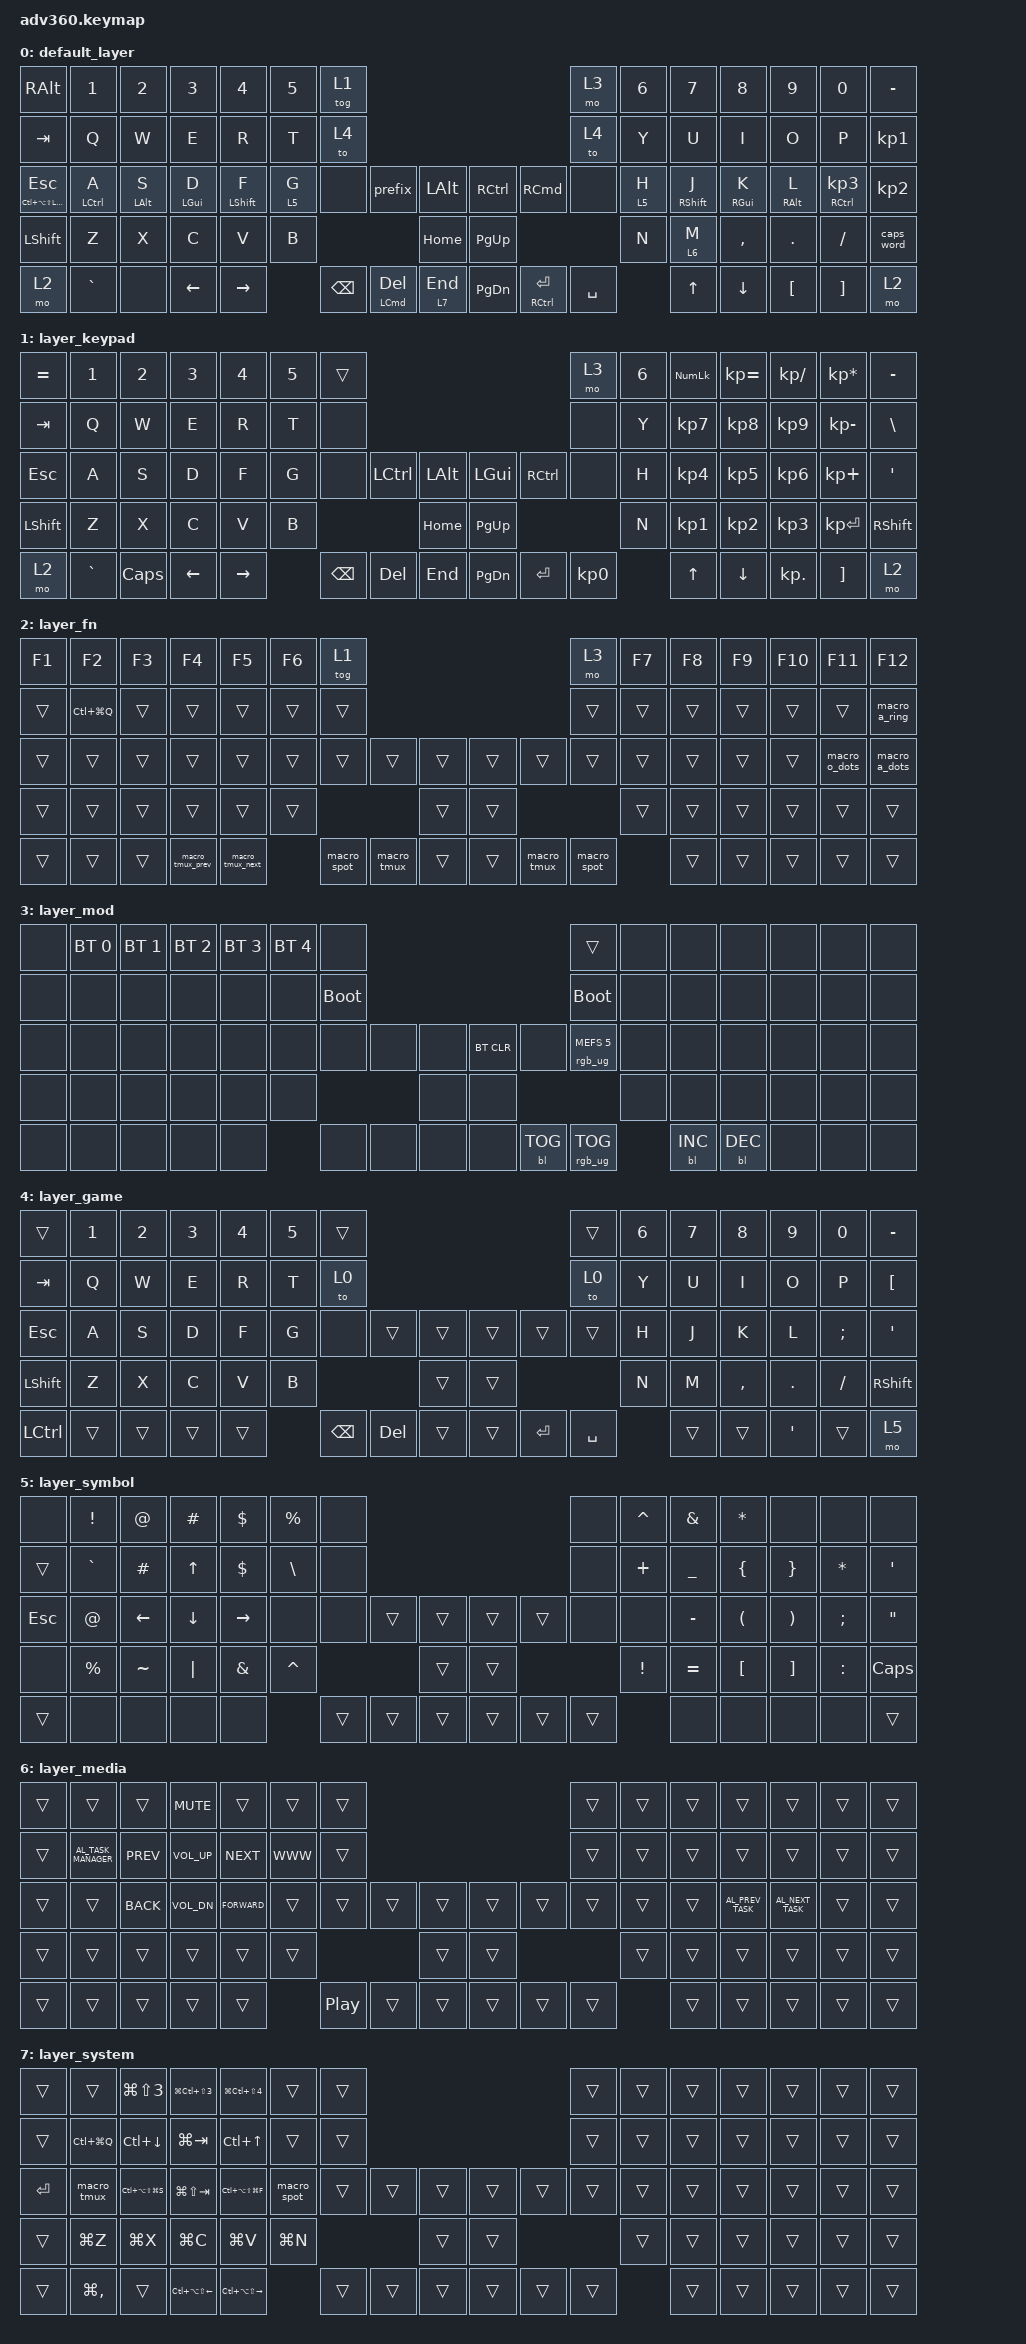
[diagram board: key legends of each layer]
/* THIS FILE WAS GENERATED!
 *
 * This file was generated automatically. You may or may not want to
 * edit it directly.
 */

#include <dt-bindings/zmk/stp.h>
#include <behaviors.dtsi>
#include <dt-bindings/zmk/backlight.h>
#include <dt-bindings/zmk/bt.h>
#include <dt-bindings/zmk/keys.h>
#include <dt-bindings/zmk/rgb.h>

#define HM_TAP_FLAVOR "tap-preferred"
#define HM_QUICKTAP_MS 120
#define HM_TAPPING_TERM_MS 150
#define KEYS_LEFT 0 1 2 3 4 5 6 \
                  14 15 16 17 18 19 20 \
                  28 29 30 31 32 33 34 \
                  46 47 48 49 50 51 \
                  60 61 62 63 64
#define KEYS_RIGHT 7 8 9 10 11 12 13 \
                   21 22 23 24 25 26 27 \
                   39 40 41 42 43 44 45 \
                   54 55 56 57 58 59 \
                   71 72 73 74 75
#define THUMBS_LEFT 35 36 65 66 52 67
#define THUMBS_RIGHT 37 38 53 69 70 68
#define THUMBS THUMBS_LEFT THUMBS_RIGHT

/ {
    behaviors {
        #include "macros.dtsi"
      #include "version.dtsi"

        hm: homerow_mods {
            compatible = "zmk,behavior-hold-tap";
            label = "HOMEROW_MODS";
            #binding-cells = <2>;
            tapping-term-ms = <HM_TAPPING_TERM_MS>;
            quick_tap_ms = <HM_QUICKTAP_MS>;
            flavor =
            HM_TAP_FLAVOR;
            bindings = <&kp>, <&kp>;
        };

        hm_l: homerow_mods_left {
            compatible = "zmk,behavior-hold-tap";
            label = "HOMEROW_MODS_LEFT";
            #binding-cells = <2>;
            tapping-term-ms = <HM_TAPPING_TERM_MS>;
            quick_tap_ms = <HM_QUICKTAP_MS>;
            flavor =
            HM_TAP_FLAVOR;
            bindings = <&kp>, <&kp>;

            hold-trigger-key-positions = <KEYS_RIGHT THUMBS>;
        };

        hm_r: homerow_mods_right {
            compatible = "zmk,behavior-hold-tap";
            label = "HOMEROW_MODS_RIGHT";
            #binding-cells = <2>;
            tapping-term-ms = <HM_TAPPING_TERM_MS>;
            quick_tap_ms = <HM_QUICKTAP_MS>;
            flavor =
            HM_TAP_FLAVOR;
            bindings = <&kp>, <&kp>;

            hold-trigger-key-positions = <KEYS_LEFT THUMBS>;
        };

        hl_l: homerow_layer_left {
            compatible = "zmk,behavior-hold-tap";
            label = "HOMEROW_LAYER_LEFT";
            #binding-cells = <2>;
            tapping-term-ms = <HM_TAPPING_TERM_MS>;
            quick_tap_ms = <HM_QUICKTAP_MS>;
            flavor =
            HM_TAP_FLAVOR;
            bindings = <&mo>, <&kp>;

            hold-trigger-key-positions = <KEYS_RIGHT THUMBS>;
        };

        hl_r: homerow_layer_right {
            compatible = "zmk,behavior-hold-tap";
            label = "HOMEROW_LAYER_RIGHT";
            #binding-cells = <2>;
            tapping-term-ms = <HM_TAPPING_TERM_MS>;
            quick_tap_ms = <HM_QUICKTAP_MS>;
            flavor =
            HM_TAP_FLAVOR;
            bindings = <&mo>, <&kp>;

            hold-trigger-key-positions = <KEYS_LEFT THUMBS>;
        };
    };

    macros {
        prefix: prefix {
            compatible = "zmk,behavior-macro";
            #binding-cells = <0>;
            bindings = <&kp LC(SPACE)>;
            label = "PREFIX";
        };
    };

    keymap {
        compatible = "zmk,keymap";

        default_layer {
            bindings = <
&kp RALT                  &kp N1         &kp N2        &kp N3        &kp N4          &kp N5     &tog 1                                                                            &mo 3      &kp N6     &kp N7          &kp N8        &kp N9        &kp N0             &kp MINUS
&kp TAB                   &kp Q          &kp W         &kp E         &kp R           &kp T      &to 4                                                                             &to 4      &kp Y      &kp U           &kp I         &kp O         &kp P              &kp KP_NUMBER_1
&mt LC(LA(LS(LGUI))) ESC  &hm_l LCTRL A  &hm_l LALT S  &hm_l LGUI D  &hm_l LSHIFT F  &hl_l 5 G  &none          &prefix               &kp LALT       &kp RCTRL  &kp RIGHT_COMMAND  &none      &hl_r 5 H  &hm_r RSHIFT J  &hm_r RGUI K  &hm_r RALT L  &hm_r RCTRL KP_N3  &kp KP_N2
&kp LSHIFT                &kp Z          &kp X         &kp C         &kp V           &kp B                                           &kp HOME       &kp PG_UP                                &kp N      &lt 6 M         &kp COMMA     &kp DOT       &kp FSLH           &caps_word
&mo 2                     &kp GRAVE      &none         &kp LEFT      &kp RIGHT                  &kp BACKSPACE  &mt LEFT_COMMAND DEL  &lt 7 END      &kp PG_DN  &mt RCTRL ENTER    &kp SPACE             &kp UP          &kp DOWN      &kp LBKT      &kp RBKT           &mo 2
            >;
        };

        layer_keypad {
            bindings = <
&kp EQUAL  &kp N1     &kp N2    &kp N3    &kp N4     &kp N5  &trans                                                        &mo 3      &kp N6  &kp KP_NUM  &kp KP_EQUAL  &kp KP_DIVIDE  &kp KP_MULTIPLY  &kp MINUS
&kp TAB    &kp Q      &kp W     &kp E     &kp R      &kp T   &none                                                         &none      &kp Y   &kp KP_N7   &kp KP_N8     &kp KP_N9      &kp KP_MINUS     &kp BSLH
&kp ESC    &kp A      &kp S     &kp D     &kp F      &kp G   &none          &kp LCTRL  &kp LALT      &kp LGUI   &kp RCTRL  &none      &kp H   &kp KP_N4   &kp KP_N5     &kp KP_N6      &kp KP_PLUS      &kp SQT
&kp LSHFT  &kp Z      &kp X     &kp C     &kp V      &kp B                             &kp HOME      &kp PG_UP                        &kp N   &kp KP_N1   &kp KP_N2     &kp KP_N3      &kp KP_ENTER     &kp RSHFT
&mo 2      &kp GRAVE  &kp CAPS  &kp LEFT  &kp RIGHT          &kp BACKSPACE  &kp DEL    &kp END       &kp PG_DN  &kp ENTER  &kp KP_N0          &kp UP      &kp DOWN      &kp KP_DOT     &kp RBKT         &mo 2
            >;
        };

        layer_fn {
            bindings = <
&kp F1  &kp F2         &kp F3  &kp F4            &kp F5            &kp F6  &tog 1                                                     &mo 3        &kp F7  &kp F8  &kp F9  &kp F10  &kp F11        &kp F12
&trans  &kp LC(LG(Q))  &trans  &trans            &trans            &trans  &trans                                                     &trans       &trans  &trans  &trans  &trans   &trans         &macro_a_ring
&trans  &trans         &trans  &trans            &trans            &trans  &trans       &trans       &trans      &trans  &trans       &trans       &trans  &trans  &trans  &trans   &macro_o_dots  &macro_a_dots
&trans  &trans         &trans  &trans            &trans            &trans                            &trans      &trans                            &trans  &trans  &trans  &trans   &trans         &trans
&trans  &trans         &trans  &macro_tmux_prev  &macro_tmux_next          &macro_spot  &macro_tmux  &trans      &trans  &macro_tmux  &macro_spot          &trans  &trans  &trans   &trans         &trans
            >;
        };

        layer_mod {
            bindings = <
&none  &bt BT_SEL 0  &bt BT_SEL 1  &bt BT_SEL 2  &bt BT_SEL 3  &bt BT_SEL 4  &none                                                  &trans                  &none  &none       &none       &none  &none  &none
&none  &none         &none         &none         &none         &none         &bootloader                                            &bootloader             &none  &none       &none       &none  &none  &none
&none  &none         &none         &none         &none         &none         &none        &none  &none      &bt BT_CLR  &none       &rgb_ug RGB_MEFS_CMD 5  &none  &none       &none       &none  &none  &none
&none  &none         &none         &none         &none         &none                             &none      &none                                           &none  &none       &none       &none  &none  &none
&none  &none         &none         &none         &none                       &none        &none  &none      &none       &bl BL_TOG  &rgb_ug RGB_TOG                &bl BL_INC  &bl BL_DEC  &none  &none  &none
            >;
        };

        layer_game {
            bindings = <
&trans      &kp NUMBER_1  &kp NUMBER_2  &kp NUMBER_3  &kp NUMBER_4  &kp NUMBER_5  &trans                                                    &trans     &kp NUMBER_6  &kp NUMBER_7  &kp NUMBER_8  &kp NUMBER_9    &kp NUMBER_0  &kp MINUS
&kp TAB     &kp Q         &kp W         &kp E         &kp R         &kp T         &to 0                                                     &to 0      &kp Y         &kp U         &kp I         &kp O           &kp P         &kp LEFT_BRACKET
&kp ESC     &kp A         &kp S         &kp D         &kp F         &kp G         &none          &trans      &trans      &trans  &trans     &trans     &kp H         &kp J         &kp K         &kp L           &kp SEMI      &kp APOSTROPHE
&kp LSHIFT  &kp Z         &kp X         &kp C         &kp V         &kp B                                    &trans      &trans                        &kp N         &kp M         &kp COMMA     &kp PERIOD      &kp SLASH     &kp RSHIFT
&kp LCTRL   &trans        &trans        &trans        &trans                      &kp BACKSPACE  &kp DELETE  &trans      &trans  &kp ENTER  &kp SPACE                &trans        &trans        &kp APOSTROPHE  &trans        &mo 5
            >;
        };

        layer_symbol {
            bindings = <
&none       &kp EXCL     &kp AT_SIGN     &kp HASH        &kp DOLLAR       &kp PERCENT    &none                                       &none   &kp CARET  &kp AMPERSAND  &kp STAR              &none                  &none          &none
&trans      &kp GRAVE    &kp HASH        &kp UP_ARROW    &kp DOLLAR       &kp BACKSLASH  &none                                       &none   &kp PLUS   &kp UNDER      &kp LEFT_BRACE        &kp RIGHT_BRACE        &kp STAR       &kp SINGLE_QUOTE
&kp ESCAPE  &kp AT       &kp LEFT_ARROW  &kp DOWN_ARROW  &kp RIGHT_ARROW  &none          &none   &trans  &trans      &trans  &trans  &none   &none      &kp MINUS      &kp LEFT_PARENTHESIS  &kp RIGHT_PARENTHESIS  &kp SEMICOLON  &kp DOUBLE_QUOTES
&none       &kp PERCENT  &kp TILDE       &kp PIPE        &kp AMPS         &kp CARET                      &trans      &trans                  &kp EXCL   &kp EQUAL      &kp LEFT_BRACKET      &kp RIGHT_BRACKET      &kp COLON      &kp CAPSLOCK
&trans      &none        &none           &none           &none                           &trans  &trans  &trans      &trans  &trans  &trans             &none          &none                 &none                  &none          &trans
            >;
        };

        layer_media {
            bindings = <
&trans  &trans                 &trans      &kp C_MUTE    &trans         &trans     &trans                                                &trans  &trans  &trans  &trans              &trans              &trans  &trans
&trans  &kp C_AL_TASK_MANAGER  &kp C_PREV  &kp C_VOL_UP  &kp C_NEXT     &kp K_WWW  &trans                                                &trans  &trans  &trans  &trans              &trans              &trans  &trans
&trans  &trans                 &kp K_BACK  &kp C_VOL_DN  &kp K_FORWARD  &trans     &trans            &trans  &trans      &trans  &trans  &trans  &trans  &trans  &kp C_AL_PREV_TASK  &kp C_AL_NEXT_TASK  &trans  &trans
&trans  &trans                 &trans      &trans        &trans         &trans                               &trans      &trans                  &trans  &trans  &trans              &trans              &trans  &trans
&trans  &trans                 &trans      &trans        &trans                    &kp C_PLAY_PAUSE  &trans  &trans      &trans  &trans  &trans          &trans  &trans              &trans              &trans  &trans
            >;
        };

        layer_system {
            bindings = <
&trans     &trans         &kp LG(LS(NUMBER_3))   &kp LG(LC(LS(NUMBER_3)))    &kp LG(LC(LS(NUMBER_4)))     &trans       &trans                                      &trans  &trans  &trans  &trans  &trans  &trans  &trans
&trans     &kp LC(LG(Q))  &kp LC(DOWN_ARROW)     &kp LG(TAB)                 &kp LC(UP_ARROW)             &trans       &trans                                      &trans  &trans  &trans  &trans  &trans  &trans  &trans
&kp ENTER  &macro_tmux    &kp LC(LA(LS(LG(S))))  &kp LG(LS(TAB))             &kp LC(LA(LS(LG(F))))        &macro_spot  &trans  &trans  &trans      &trans  &trans  &trans  &trans  &trans  &trans  &trans  &trans  &trans
&trans     &kp LG(Z)      &kp LG(X)              &kp LG(C)                   &kp LG(V)                    &kp LG(N)                    &trans      &trans                  &trans  &trans  &trans  &trans  &trans  &trans
&trans     &kp LG(COMMA)  &trans                 &kp LC(LA(LS(LEFT_ARROW)))  &kp LC(LA(LS(RIGHT_ARROW)))               &trans  &trans  &trans      &trans  &trans  &trans          &trans  &trans  &trans  &trans  &trans
            >;
        };
    };
};
